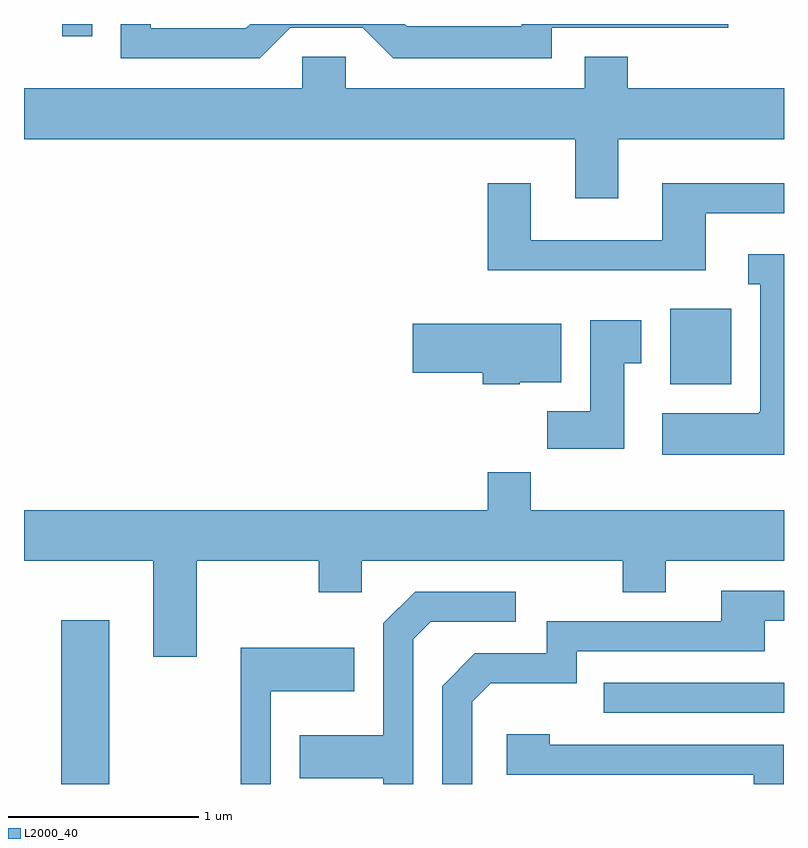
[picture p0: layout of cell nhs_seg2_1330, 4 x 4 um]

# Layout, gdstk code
import gdstk
lib = gdstk.Library(unit=1e-6, precision=1e-09)
def R(c, l, rs):  # rectangles x0, y0, x1, y1
    for r in rs: c.add(gdstk.rectangle(r[:2], r[2:], *l))
def P(c, l, *ps):  # polygons
    for p in ps: c.add(gdstk.Polygon(p, *l))
L2000_40 = (2000, 40)

nhs_seg2_1330 = lib.new_cell('nhs_seg2_1330')
R(nhs_seg2_1330, L2000_40, [(223.806,1053.802,224.059,1054.664), (226.663,1054.176,227.611,1054.334), (227.011,1055.906,227.334,1056.304), (223.811,1057.738,223.969,1057.802)])
P(nhs_seg2_1330, L2000_40, [(225.012,1057.781),(225.394,1057.781),(225.554,1057.621),(226.389,1057.621),(226.389,1057.781),(227.318,1057.781),(227.318,1057.802),(226.231,1057.802),(226.231,1057.789),(225.627,1057.789),(225.614,1057.802),(224.802,1057.802),(224.779,1057.779),(224.279,1057.779),(224.279,1057.802),(224.121,1057.802),(224.121,1057.621),(224.852,1057.621)],
  [(226.739,1057.196),(227.611,1057.196),(227.611,1057.464),(226.789,1057.464),(226.789,1057.629),(226.561,1057.629),(226.561,1057.464),(225.304,1057.464),(225.304,1057.629),(225.076,1057.629),(225.076,1057.464),(223.611,1057.464),(223.611,1057.196),(226.511,1057.196),(226.511,1056.886),(226.739,1056.886)],
  [(227.199,1056.806),(227.611,1056.806),(227.611,1056.964),(226.971,1056.964),(226.971,1056.664),(226.279,1056.664),(226.279,1056.964),(226.051,1056.964),(226.051,1056.506),(227.199,1056.506)],
  [(227.611,1056.589),(227.423,1056.589),(227.423,1056.431),(227.486,1056.431),(227.486,1055.76),(227.48,1055.76),(227.48,1055.754),(226.971,1055.754),(226.971,1055.536),(227.611,1055.536)],
  [(226.769,1056.016),(226.859,1056.016),(226.859,1056.244),(226.591,1056.244),(226.591,1055.764),(226.366,1055.764),(226.366,1055.566),(226.769,1055.566)],
  [(226.22,1055.916),(226.439,1055.916),(226.439,1056.224),(225.656,1056.224),(225.656,1055.966),(226.026,1055.966),(226.026,1055.906),(226.22,1055.906)],
  [(224.519,1054.976),(225.161,1054.976),(225.161,1054.811),(225.389,1054.811),(225.389,1054.976),(226.761,1054.976),(226.761,1054.811),(226.989,1054.811),(226.989,1054.976),(227.611,1054.976),(227.611,1055.244),(226.279,1055.244),(226.279,1055.444),(226.051,1055.444),(226.051,1055.244),(223.611,1055.244),(223.611,1054.976),(224.291,1054.976),(224.291,1054.471),(224.519,1054.471)],
  [(225.969,1054.234),(226.067,1054.331),(226.519,1054.331),(226.519,1054.501),(227.509,1054.501),(227.509,1054.661),(227.611,1054.661),(227.611,1054.819),(227.281,1054.819),(227.281,1054.659),(226.361,1054.659),(226.361,1054.489),(225.984,1054.489),(225.811,1054.317),(225.811,1053.802),(225.969,1053.802)],
  [(225.659,1054.564),(225.752,1054.656),(226.198,1054.656),(226.198,1054.814),(225.669,1054.814),(225.501,1054.647),(225.501,1054.059),(225.061,1054.059),(225.061,1053.831),(225.501,1053.831),(225.501,1053.802),(225.659,1053.802)],
  [(224.909,1054.291),(225.349,1054.291),(225.349,1054.519),(224.751,1054.519),(224.751,1053.802),(224.909,1053.802)],
  [(227.609,1054.009),(226.379,1054.009),(226.379,1054.064),(226.151,1054.064),(226.151,1053.851),(227.451,1053.851),(227.451,1053.802),(227.609,1053.802)])

lib.write_gds('nhs_seg2_1330.gds')
